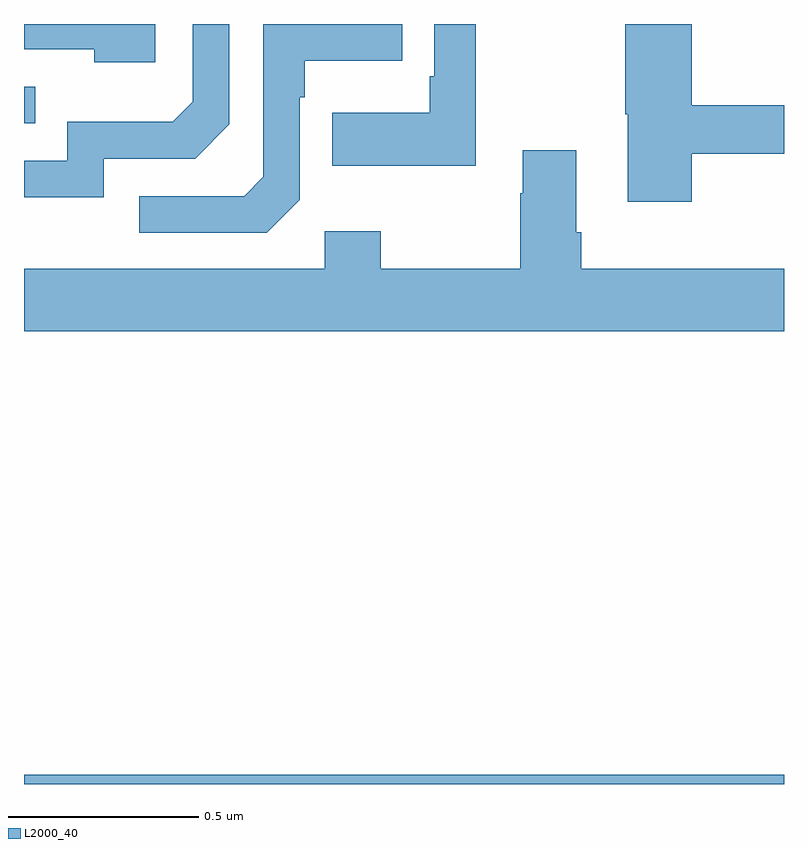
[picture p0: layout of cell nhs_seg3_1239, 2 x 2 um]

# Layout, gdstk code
import gdstk
lib = gdstk.Library(unit=1e-6, precision=1e-09)
def R(c, l, rs):  # rectangles x0, y0, x1, y1
    for r in rs: c.add(gdstk.rectangle(r[:2], r[2:], *l))
def P(c, l, *ps):  # polygons
    for p in ps: c.add(gdstk.Polygon(p, *l))
L2000_40 = (2000, 40)

nhs_seg3_1239 = lib.new_cell('nhs_seg3_1239')
R(nhs_seg3_1239, L2000_40, [(126,690.4,128,690.424), (126,692.139,126.029,692.235)])
P(nhs_seg3_1239, L2000_40, [(126.346,692.4),(126,692.4),(126,692.334),(126.185,692.334),(126.185,692.3),(126.346,692.3)],
  [(126.21,692.046),(126.45,692.046),(126.54,692.136),(126.54,692.4),(126.444,692.4),(126.444,692.196),(126.391,692.143),(126.114,692.143),(126.114,692.04),(126,692.04),(126,691.944),(126.21,691.944)],
  [(127.757,692.058),(128,692.058),(128,692.186),(127.757,692.186),(127.757,692.4),(127.582,692.4),(127.582,692.163),(127.589,692.163),(127.589,691.932),(127.757,691.932)],
  [(126.726,691.938),(126.726,692.207),(126.739,692.207),(126.739,692.303),(126.995,692.303),(126.995,692.4),(126.63,692.4),(126.63,691.998),(126.579,691.947),(126.303,691.947),(126.303,691.851),(126.639,691.851)],
  [(127.189,692.4),(127.08,692.4),(127.08,692.263),(127.068,692.263),(127.068,692.167),(126.811,692.167),(126.811,692.027),(127.189,692.027)],
  [(128,691.756),(127.466,691.756),(127.466,691.852),(127.453,691.852),(127.453,692.068),(127.313,692.068),(127.313,691.955),(127.306,691.955),(127.306,691.756),(126.939,691.756),(126.939,691.855),(126.792,691.855),(126.792,691.756),(126,691.756),(126,691.592),(128,691.592)])

lib.write_gds('nhs_seg3_1239.gds')
